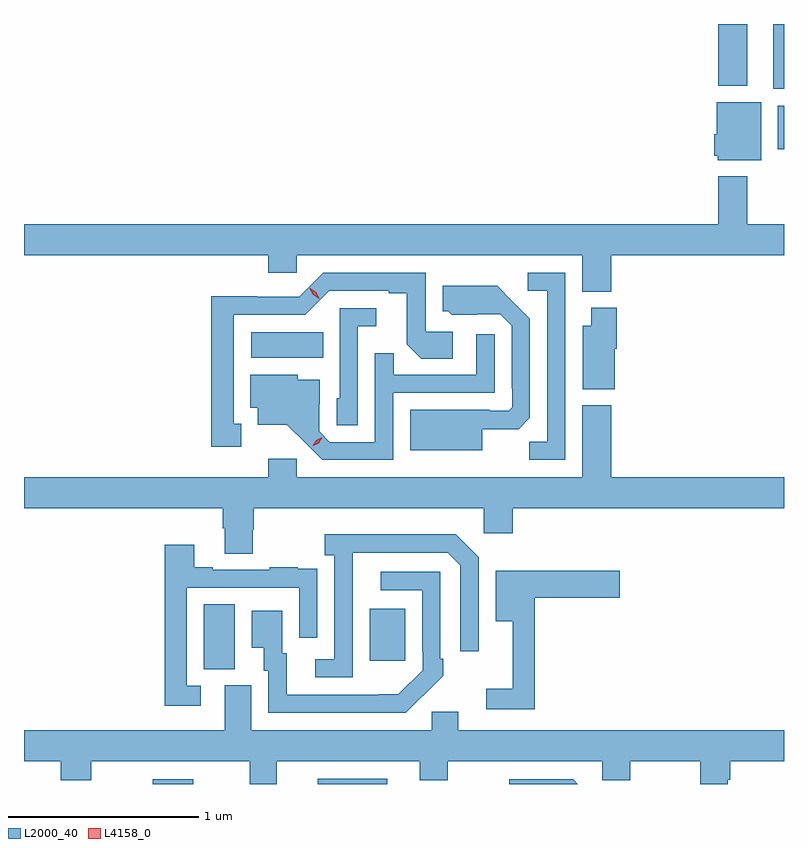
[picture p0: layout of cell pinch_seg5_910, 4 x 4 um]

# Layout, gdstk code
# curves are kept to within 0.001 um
import gdstk
lib = gdstk.Library(unit=1e-6, precision=1e-09)
def R(c, l, rs):  # rectangles x0, y0, x1, y1
    for r in rs: c.add(gdstk.rectangle(r[:2], r[2:], *l))
def P(c, l, *ps):  # polygons
    for p in ps: c.add(gdstk.Polygon(p, *l))
L2000_40 = (2000, 40)
L4158_0 = (4158, 0)

pinch_seg5_910 = lib.new_cell('pinch_seg5_910')
R(pinch_seg5_910, L2000_40, [(723.825,880.617,724.039,880.641), (724.695,880.617,725.059,880.644), (724.094,881.221,724.258,881.564), (724.967,881.265,725.155,881.539), (724.344,882.86,724.724,882.994), (727.115,883.958,727.148,884.188), (727.091,884.276,727.148,884.617), (726.803,884.291,726.955,884.617)])
P(pinch_seg5_910, L2000_40, [(727.027,884.206),(726.794,884.206),(726.794,884.037),(726.782,884.037),(726.782,883.923),(726.798,883.923),(726.798,883.901),(727.027,883.901)],
  [(726.239,883.4),(727.148,883.4),(727.148,883.564),(726.955,883.564),(726.955,883.816),(726.803,883.816),(726.803,883.564),(723.148,883.564),(723.148,883.4),(724.433,883.4),(724.433,883.307),(724.584,883.307),(724.584,883.4),(726.086,883.4),(726.086,883.208),(726.239,883.208)],
  [(724.291,882.513),(724.252,882.513),(724.252,883.086),(724.629,883.086),(724.755,883.212),(725.069,883.212),(725.069,883.2),(725.163,883.2),(725.163,882.932),(725.239,882.856),(725.404,882.856),(725.404,882.996),(725.262,882.996),(725.262,883.308),(724.722,883.308),(724.596,883.182),(724.374,883.182),(724.374,883.184),(724.134,883.184),(724.134,882.393),(724.291,882.393)],
  [(725.997,883.308),(725.799,883.308),(725.799,883.212),(725.901,883.212),(725.901,882.419),(725.806,882.419),(725.806,882.324),(725.997,882.324)],
  [(725.56,882.485),(725.752,882.485),(725.811,882.544),(725.811,883.066),(725.639,883.24),(725.351,883.24),(725.351,883.104),(725.382,883.104),(725.398,883.088),(725.655,883.089),(725.715,883.029),(725.715,882.7),(725.718,882.7),(725.718,882.6),(725.7,882.582),(725.6,882.582),(725.6,882.586),(725.18,882.586),(725.18,882.374),(725.56,882.374)],
  [(726.256,882.909),(726.269,882.909),(726.269,883.123),(726.134,883.123),(726.134,883.03),(726.089,883.03),(726.089,882.695),(726.256,882.695)],
  [(724.905,883.025),(725.002,883.025),(725.002,883.122),(724.809,883.122),(724.809,882.648),(724.794,882.648),(724.794,882.505),(724.905,882.505)],
  [(725.091,882.675),(725.625,882.675),(725.625,882.985),(725.529,882.985),(725.529,882.771),(725.093,882.771),(725.093,882.884),(724.995,882.884),(724.995,882.417),(724.758,882.417),(724.701,882.474),(724.701,882.616),(724.705,882.616),(724.705,882.745),(724.59,882.745),(724.59,882.772),(724.34,882.772),(724.34,882.596),(724.379,882.596),(724.379,882.509),(724.531,882.509),(724.718,882.324),(725.091,882.324)],
  [(724.353,881.955),(724.358,881.955),(724.358,882.068),(725.568,882.068),(725.568,881.937),(725.72,881.937),(725.72,882.068),(727.148,882.068),(727.148,882.232),(726.239,882.232),(726.239,882.61),(726.086,882.61),(726.086,882.232),(724.584,882.232),(724.584,882.328),(724.433,882.328),(724.433,882.232),(723.148,882.232),(723.148,882.068),(724.193,882.068),(724.193,881.962),(724.205,881.962),(724.205,881.83),(724.353,881.83)],
  [(724.878,881.635),(724.879,881.835),(725.379,881.835),(725.445,881.769),(725.445,881.316),(725.541,881.316),(725.541,881.811),(725.42,881.932),(724.731,881.932),(724.731,881.822),(724.782,881.822),(724.782,881.274),(724.68,881.274),(724.68,881.178),(724.878,881.178)],
  [(724.078,881.133),(724.005,881.133),(724.005,881.649),(724.596,881.649),(724.596,881.388),(724.692,881.388),(724.692,881.642),(724.691,881.642),(724.691,881.751),(724.589,881.751),(724.589,881.758),(724.441,881.758),(724.441,881.745),(724.141,881.745),(724.141,881.758),(724.045,881.758),(724.045,881.875),(723.889,881.875),(723.889,881.028),(724.078,881.028)],
  [(725.837,881.597),(726.283,881.597),(726.283,881.739),(725.63,881.739),(725.63,881.474),(725.72,881.474),(725.72,881.119),(725.58,881.119),(725.58,881.01),(725.837,881.01)],
  [(725.249,881.083),(725.25,881.082),(725.355,881.187),(725.355,881.275),(725.34,881.275),(725.34,881.733),(725.025,881.733),(725.025,881.637),(725.244,881.637),(725.244,881.317),(725.247,881.317),(725.247,881.217),(725.119,881.089),(724.531,881.088),(724.531,881.304),(724.507,881.304),(724.507,881.53),(724.346,881.53),(724.346,881.333),(724.409,881.333),(724.409,881.214),(724.434,881.214),(724.434,880.992),(725.158,880.992)],
  [(723.148,880.736),(723.341,880.736),(723.341,880.637),(723.501,880.637),(723.501,880.736),(724.337,880.736),(724.337,880.617),(724.477,880.617),(724.477,880.736),(725.231,880.736),(725.231,880.637),(725.379,880.637),(725.379,880.736),(726.192,880.736),(726.192,880.637),(726.339,880.637),(726.339,880.736),(726.706,880.736),(726.706,880.617),(726.853,880.617),(726.853,880.64),(726.866,880.64),(726.866,880.736),(727.148,880.736),(727.148,880.9),(725.434,880.9),(725.434,880.998),(725.295,880.998),(725.295,880.9),(724.345,880.9),(724.345,881.136),(724.205,881.136),(724.205,880.9),(723.148,880.9)],
  [(726.039,880.641),(725.703,880.641),(725.703,880.617),(726.063,880.617)])
P(pinch_seg5_910, L4158_0, [(724.669,882.396),(724.669,882.396),(724.686,882.426),(724.717,882.441),(724.717,882.441),(724.717,882.441),(724.7,882.411),(724.67,882.396)],
  [(724.702,883.172),(724.67,883.192),(724.653,883.224),(724.653,883.225),(724.654,883.225),(724.685,883.205),(724.702,883.173),(724.702,883.172)])

lib.write_gds('pinch_seg5_910.gds')
